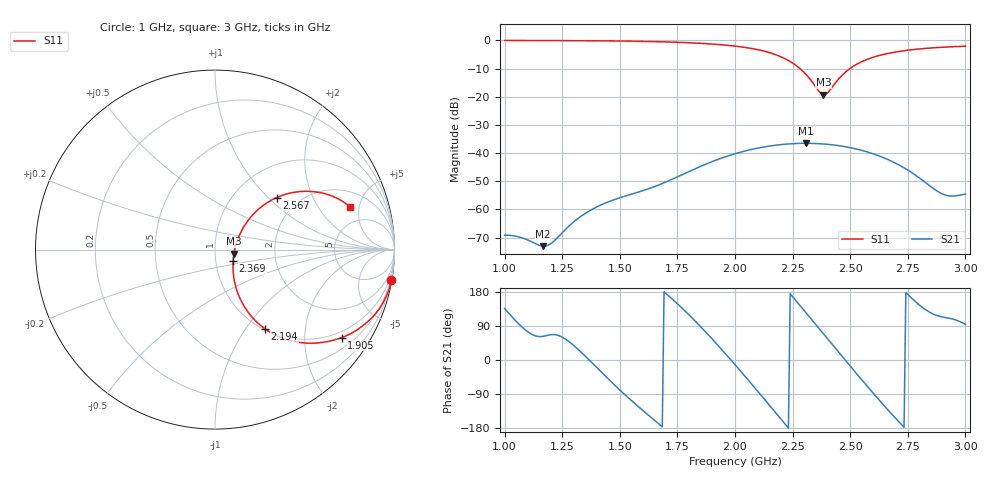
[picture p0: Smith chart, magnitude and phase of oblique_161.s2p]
! TOUCHSTONE file generated by CST MICROWAVE STUDIO
! Date and time: Tue Mar 18 00:02:29 2025
! Project name: oblique.cst
! Parameters = {Tilt=40; Fracture=1; B=10; D=160; F=25; Feed=2.85625; L=100; M=50; R=0.384908; S=2; Theta=180; length=57.125; wave=114.25}
! Header version: 2024
! Port assignment regex: !\s*Touchstone port\s*([0-9]+)\s*=\s*(CST MWS port|CST DES external port|CST DES block port)\s*(.+)\s* \(\"(.*)\"\)(\s*mode\s*([0-9]+))?.*
! Touchstone port assignment:
! Touchstone port 1 = CST MWS port 1 ("")
! Touchstone port 2 = CST MWS port 2 ("")
# GHz S DB R 50
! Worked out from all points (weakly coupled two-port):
!   264 points, 1 GHz to 3 GHz, reference 50 ohm
!   highest |S21| = -36.54 dB at 2.308 GHz (marker M1); lowest = -73.1 dB at 1.167 GHz (marker M2)
!   lowest |S11| = -19.3 dB at 2.384 GHz (marker M3), VSWR 1.24, Z = 61.7 - j2.93 ohm
!   |S11| at or under -10 dB: 2.282 GHz to 2.499 GHz (217.1 MHz wide, 9.08 % of centre)
!   S12 and S22 are empty: the file has one direction only
!   S11 on the Smith chart (normalised r, x): 1 GHz: 0, -12; 1.905 GHz: 0.80, -3.00; 2.194 GHz: 1.02, -1.24; 2.369 GHz: 1.21, -0.15; 2.567 GHz: 1.55, +1.12; 3 GHz: 3.19, +4.04
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1  -0.02 -9.8  -69.18 136.1  -200.00 0.0  -200.00 0.0
1.06844  -0.03 -10.7  -69.92 91.2  -200.00 0.0  -200.00 0.0
1.1673  -0.04 -12.3  -73.07 62.5  -200.00 0.0  -200.00 0.0
1.20532  -0.05 -12.9  -71.88 66.9  -200.00 0.0  -200.00 0.0
1.3346  -0.10 -15.3  -62.28 19.2  -200.00 0.0  -200.00 0.0
1.44106  -0.16 -17.7  -57.62 -44.5  -200.00 0.0  -200.00 0.0
1.6692  -0.47 -24.3  -51.33 -168.5  -200.00 0.0  -200.00 0.0
1.90494  -1.32 -34.8  -42.90 52.7  -200.00 0.0  -200.00 0.0
2.0038  -2.06 -41.0  -40.16 -15.0  -200.00 0.0  -200.00 0.0
2.11027  -3.50 -49.8  -38.07 -90.9  -200.00 0.0  -200.00 0.0
2.19392  -5.64 -57.7  -37.05 -151.7  -200.00 0.0  -200.00 0.0
2.25475  -8.31 -62.3  -36.65 163.7  -200.00 0.0  -200.00 0.0
2.30798  -12.06 -61.5  -36.54 124.6  -200.00 0.0  -200.00 0.0
2.3384  -15.14 -54.0  -36.58 102.2  -200.00 0.0  -200.00 0.0
2.36882  -18.50 -31.7  -36.69 79.8  -200.00 0.0  -200.00 0.0
2.38403  -19.32 -12.5  -36.78 68.7  -200.00 0.0  -200.00 0.0
2.39924  -18.83 7.3  -36.88 57.5  -200.00 0.0  -200.00 0.0
2.48289  -11.02 42.6  -37.81 -3.6  -200.00 0.0  -200.00 0.0
2.56654  -6.96 40.2  -39.42 -63.9  -200.00 0.0  -200.00 0.0
2.673  -4.48 32.9  -42.65 -137.9  -200.00 0.0  -200.00 0.0
2.90114  -2.42 21.0  -54.56 113.4  -200.00 0.0  -200.00 0.0
3  -2.05 17.6  -54.56 93.8  -200.00 0.0  -200.00 0.0
